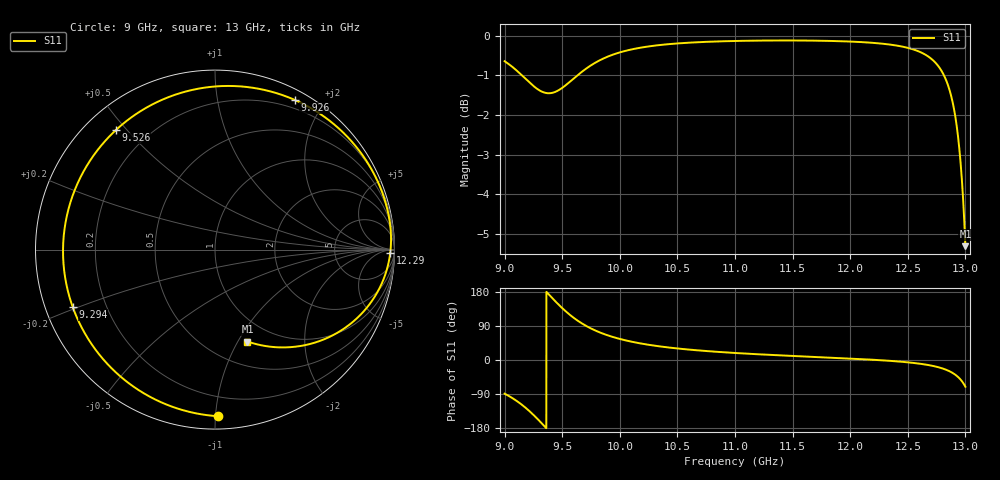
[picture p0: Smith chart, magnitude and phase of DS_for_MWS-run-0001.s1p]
! TOUCHSTONE file generated by CST DESIGN STUDIO
! Date and time: Tue Feb  4 18:13:17 2025
! Project name: C:\Work\MatlabApps\UnitCellOptimizationMatlab\CST\unitcell.cst
! Tree item: Tasks\Sweep1\SPara1\S-Parameters
! Header version: 2024
! Port assignment regex: !\s*Touchstone port\s*([0-9]+)\s*=\s*(CST MWS port|CST DES external port|CST DES block port)\s*(.+)\s* \(\"(.*)\"\)(\s*mode\s*([0-9]+))?.*
! Touchstone port assignment:
! Touchstone port 1 = CST DES external port 1 ("")
# GHz S MA R 50
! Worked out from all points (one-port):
!   4001 points, 9 GHz to 13 GHz, reference 50 ohm
!   lowest |S11| = -5.3 dB at 13 GHz (marker M1), VSWR 3.38, Z = 37.8 - j54.9 ohm
!   |S11| at or under -10 dB: nowhere
!   S11 on the Smith chart (normalised r, x): 9 GHz: 0.08, -1.02; 9.294 GHz: 0.08, -0.19; 9.526 GHz: 0.09, +0.47; 9.926 GHz: 0.11, +1.66; 12.29 GHz: 52, -41; 13 GHz: 0.76, -1.10
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9  0.9286 -88.8
9.082  0.9097 -103.4
9.155  0.89 -119.3
9.223  0.8711 -137.0
9.294  0.8548 -158.1
9.344  0.8479 -174.1
9.392  0.8463 170.3
9.443  0.8499 154.0
9.5  0.8595 137.0
9.526  0.8651 129.7
9.601  0.8835 111.0
9.685  0.9038 94.0
9.802  0.9271 75.9
9.926  0.9448 62.0
10  0.9526 55.6
10.216  0.9676 41.8
10.5  0.9777 30.4
11  0.9847 18.5
11.5  0.9861 10.7
12  0.983 3.8
12.29  0.9766 -1.1
12.5  0.9652 -6.1
12.707  0.9344 -14.9
12.834  0.8779 -25.9
12.88  0.8356 -32.6
12.919  0.7798 -40.4
12.962  0.6813 -53.0
13  0.5431 -70.5
